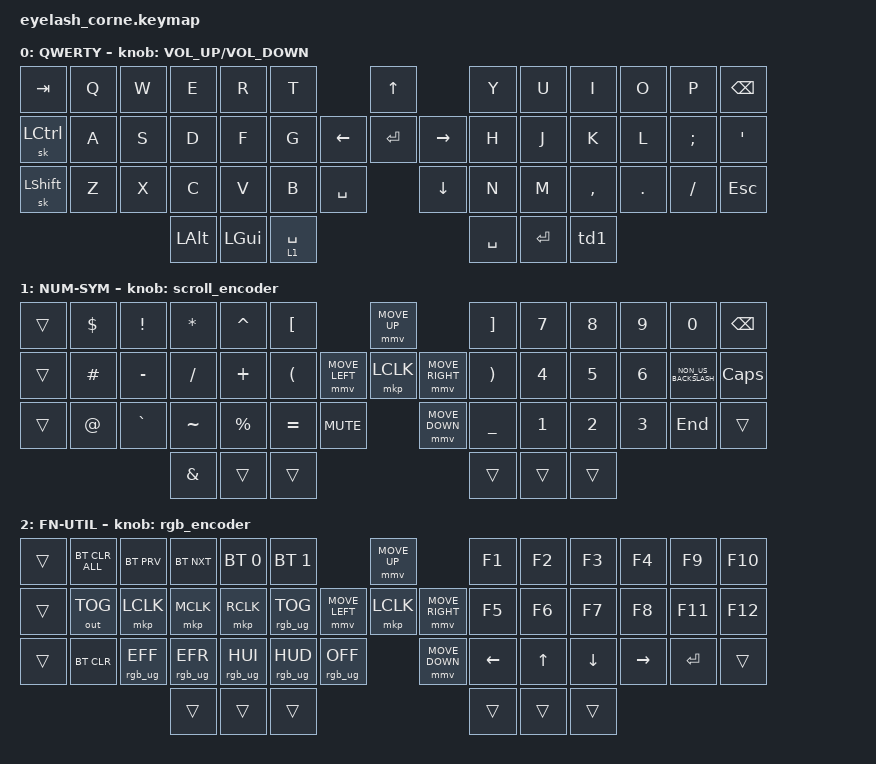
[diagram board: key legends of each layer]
#define ZMK_POINTING_DEFAULT_MOVE_VAL 1200  // 600
#define ZMK_POINTING_DEFAULT_SCRL_VAL 25   // 10

#include <input/processors.dtsi>
#include <zephyr/dt-bindings/input/input-event-codes.h>
#include <behaviors.dtsi>
#include <dt-bindings/zmk/bt.h>
#include <dt-bindings/zmk/keys.h>
#include <dt-bindings/zmk/outputs.h>
#include <dt-bindings/zmk/pointing.h>
#include <dt-bindings/zmk/rgb.h>

&mmv_input_listener { input-processors = <&zip_xy_scaler 2 1>; };

&msc_input_listener { input-processors = <&zip_scroll_scaler 2 1>; };

&msc {
    acceleration-exponent = <1>;      // 0
    time-to-max-speed-ms = <100>;       // 300
    delay-ms = <0>;                   // 0
};

&mmv {
    time-to-max-speed-ms = <500>;
    acceleration-exponent = <1>;
    trigger-period-ms = <16>;
};

&soft_off { hold-time-ms = <2000>; };

/ {
    behaviors {
        td0: td0 {
            compatible = "zmk,behavior-tap-dance";
            display-name = "Shift/Caps Lock Tap Dance";
            #binding-cells = <0>;
            bindings = <&kp LEFT_SHIFT>, <&kp CAPS>;
        };

        td1: tap_dance_1 {
            compatible = "zmk,behavior-tap-dance";

            display-name = "Layers Toggle";
            #binding-cells = <0>;
            tapping-term-ms = <300>;
            bindings = <&to 1 >, <&to 0>, <&to 2>;
        };
    };

    rgb_encoder: rgb_encoder {
        compatible = "zmk,behavior-sensor-rotate";
        #sensor-binding-cells = <0>;
        bindings = <&rgb_ug RGB_BRI>, <&rgb_ug RGB_BRD>;
    };

    scroll_encoder: scroll_encoder {
        compatible = "zmk,behavior-sensor-rotate";
        #sensor-binding-cells = <0>;
        bindings = <&msc SCRL_DOWN>, <&msc SCRL_UP>;

        tap-ms = <100>;
    };

    combos {
        compatible = "zmk,combos";

        softoff {
            bindings = <&soft_off>;
            key-positions = <1 15 29>;
        };

        base_layer {
            timeout-ms = <50>;
            key-positions = <16 17>;
            bindings = <&to 0>;
        };
        to_layer_2 {
            timeout-ms = <50>;
            key-positions = <15 16>;
            bindings = <&to 2>;
        };
    };

    keymap {
        compatible = "zmk,keymap";

        default_layer {
            display-name = "QWERTY";
            bindings = <
&kp TAB    &kp Q  &kp W  &kp E     &kp R       &kp T                               &kp UP                &kp Y        &kp U        &kp I      &kp O    &kp P     &kp BSPC
&sk LCTRL  &kp A  &kp S  &kp D     &kp F       &kp G                     &kp LEFT  &kp ENTER  &kp RIGHT  &kp H        &kp J        &kp K      &kp L    &kp SEMI  &kp SQT
&sk LSHFT  &kp Z  &kp X  &kp C     &kp V       &kp B        &kp SPACE              &kp DOWN              &kp N        &kp M        &kp COMMA  &kp DOT  &kp FSLH  &kp ESC
                         &kp LALT  &kp LGUI    &lt 1 SPACE                                               &kp SPACE    &kp ENTER    &td1
            >;

            sensor-bindings = <&inc_dec_kp C_VOLUME_UP C_VOLUME_DOWN>;
        };

        lower_layer {
            display-name = "NUM-SYM";
            bindings = <
&trans  &kp DOLLAR  &kp EXCLAMATION  &kp ASTERISK  &kp CARET    &kp LEFT_BRACKET                                    &mmv MOVE_UP                     &kp RIGHT_BRACKET      &kp N7        &kp N8        &kp N9        &kp N0                &kp BSPC
&trans  &kp HASH    &kp MINUS        &kp SLASH     &kp PLUS     &kp LEFT_PARENTHESIS                &mmv MOVE_LEFT  &mkp LCLK       &mmv MOVE_RIGHT  &kp RIGHT_PARENTHESIS  &kp NUMBER_4  &kp N5        &kp NUMBER_6  &kp NON_US_BACKSLASH  &kp CAPS
&trans  &kp AT      &kp GRAVE        &kp TILDE     &kp PERCENT  &kp EQUAL             &kp C_MUTE                    &mmv MOVE_DOWN                   &kp UNDERSCORE         &kp NUMBER_1  &kp NUMBER_2  &kp NUMBER_3  &kp END               &trans
                                     &kp AMPS      &trans       &trans                                                                               &trans                 &trans        &trans
            >; 

            sensor-bindings = <&scroll_encoder>;
        };

        raise_layer {
            display-name = "FN-UTIL";
            bindings = <
&trans  &bt BT_CLR_ALL  &bt BT_PRV       &bt BT_NXT       &bt BT_SEL 0     &bt BT_SEL 1                                        &mmv MOVE_UP                     &kp F1    &kp F2        &kp F3          &kp F4     &kp F9     &kp F10
&trans  &out OUT_TOG    &mkp LCLK        &mkp MCLK        &mkp RCLK        &rgb_ug RGB_TOG                     &mmv MOVE_LEFT  &mkp LCLK       &mmv MOVE_RIGHT  &kp F5    &kp F6        &kp F7          &kp F8     &kp F11    &kp F12
&trans  &bt BT_CLR      &rgb_ug RGB_EFF  &rgb_ug RGB_EFR  &rgb_ug RGB_HUI  &rgb_ug RGB_HUD  &rgb_ug RGB_OFF                    &mmv MOVE_DOWN                   &kp LEFT  &kp UP_ARROW  &kp DOWN_ARROW  &kp RIGHT  &kp ENTER  &trans
                                         &trans           &trans           &trans                                                                               &trans    &trans        &trans
            >;

            sensor-bindings = <&rgb_encoder>;
        };
    };
};
